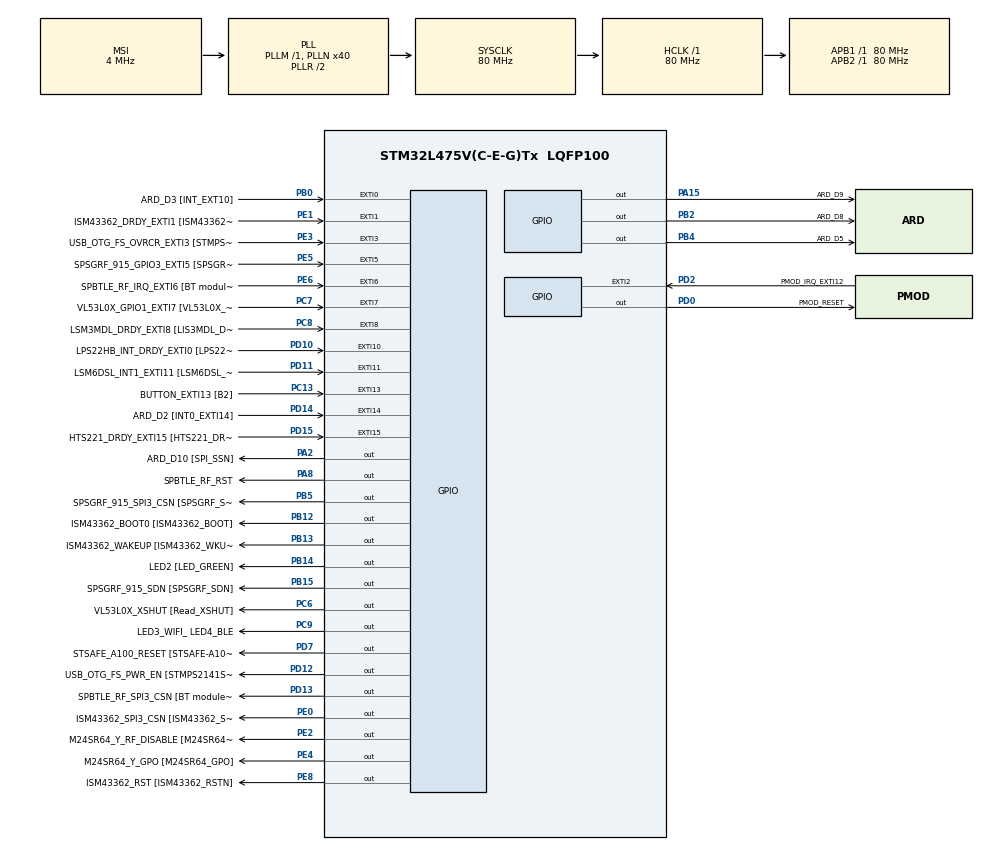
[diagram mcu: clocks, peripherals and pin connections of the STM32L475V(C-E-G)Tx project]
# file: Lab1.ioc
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FREERTOS.BinarySemaphores01=myBinarySem02,Dynamic,NULL,Available
FREERTOS.Mutexes01=MutexLED2,Dynamic,NULL,Available
FREERTOS.Queues01=pressQueue,16,uint8_t,0,Dynamic,NULL,NULL
FREERTOS.Tasks01=defaultTask,24,128,StartDefaultTask,Default,NULL,Dynamic,NULL,NULL;myTask02,47,128,StartTask02,Default,NULL,Dynamic,NULL,NULL
Mcu.Family=STM32L4
Mcu.Name=STM32L475V(C-E-G)Tx
Mcu.Package=LQFP100
NVIC.EXTI15_10_IRQn=true\:5\:0\:false\:false\:true\:true\:true\:true\:true
NVIC.EXTI9_5_IRQn=true\:5\:0\:false\:false\:true\:true\:true\:true\:true
NVIC.PriorityGroup=NVIC_PRIORITYGROUP_4
NVIC.TIM7_IRQn=true\:5\:0\:false\:false\:true\:true\:true\:true\:true
PA0.GPIO_Label=ARD_D1 [UART4_TX]
PA0.Signal=UART4_TX
PA1.GPIO_Label=ARD_D0 [UART4_RX]
PA1.Signal=UART4_RX
PA10.GPIO_Label=USB_OTG_FS_ID
PA10.Signal=USB_OTG_FS_ID
PA11.GPIO_Label=USB_OTG_FS_DM
PA11.Signal=USB_OTG_FS_DM
PA12.GPIO_Label=USB_OTG_FS_DP
PA12.Signal=USB_OTG_FS_DP
PA13\ (JTMS-SWDIO).GPIO_Label=SYS_JTMS_SWDIO
PA13\ (JTMS-SWDIO).Signal=SYS_JTMS-SWDIO
PA14\ (JTCK-SWCLK).GPIO_Label=SYS_JTCK_SWCLK
PA14\ (JTCK-SWCLK).Signal=SYS_JTCK-SWCLK
PA15\ (JTDI).GPIO_Label=ARD_D9
PA15\ (JTDI).Signal=GPIO_Output
PA2.GPIO_Label=ARD_D10 [SPI_SSN]
PA2.Signal=GPIO_Output
PA3.GPIO_Label=ARD_D4
PA3.Signal=S_TIM2_CH4
PA4.GPIO_Label=ARD_D7
PA4.Signal=ADCx_IN9
PA5.GPIO_Label=ARD_D13 [SPI1_SCK]
PA5.Signal=SPI1_SCK
PA6.GPIO_Label=ARD_D12 [SPI1_MISO]
PA6.Signal=SPI1_MISO
PA7.GPIO_Label=ARD_D11 [SPI1_MOSI]
PA7.Signal=SPI1_MOSI
PA8.GPIO_Label=SPBTLE_RF_RST
PA8.Signal=GPIO_Output
PA9.GPIO_Label=USB_OTG_FS_VBUS [STMPS2141STR_OUT]
PA9.Signal=USB_OTG_FS_VBUS
PB0.GPIO_Label=ARD_D3 [INT_EXT10]
PB0.Signal=GPXTI0
PB1.GPIO_Label=ARD_D6 [ADC1_IN6]
PB1.Signal=ADCx_IN16
PB10.GPIO_Label=INTERNAL_I2C2_SCL [VL53L0X_SCL]
PB10.Signal=I2C2_SCL
PB11.GPIO_Label=INTERNAL_I2C2_SDA [VL53L0X_SDA]
PB11.Signal=I2C2_SDA
PB12.GPIO_Label=ISM43362_BOOT0 [ISM43362_BOOT]
PB12.Signal=GPIO_Output
PB13.GPIO_Label=ISM43362_WAKEUP [ISM43362_WKUP]
PB13.Signal=GPIO_Output
PB14.GPIO_Label=LED2 [LED_GREEN]
PB14.Signal=GPIO_Output
PB15.GPIO_Label=SPSGRF_915_SDN [SPSGRF_SDN]
PB15.Signal=GPIO_Output
PB2.GPIO_Label=ARD_D8
PB2.Signal=GPIO_Output
PB3\ (JTDO-TRACESWO).GPIO_Label=SYS_JTD0_SWO
PB3\ (JTDO-TRACESWO).Signal=SYS_JTDO-SWO
PB4\ (NJTRST).GPIO_Label=ARD_D5
PB4\ (NJTRST).Signal=GPIO_Output
PB5.GPIO_Label=SPSGRF_915_SPI3_CSN [SPSGRF_SPI_CS]
PB5.PinState=GPIO_PIN_SET
PB5.Signal=GPIO_Output
PB6.GPIO_Label=ST_LINK_UART1_TX
PB6.Signal=USART1_TX
PB7.GPIO_Label=ST_LINK_UART1_RX
PB7.Signal=USART1_RX
PB8.GPIO_Label=ARD_D15 [I2C1_SCL]
PB8.Signal=I2C1_SCL
PB9.GPIO_Label=ARD_D14 [I2C1_SDA]
PB9.Signal=I2C1_SDA
PC0.GPIO_Label=ARD_A5 [ADC]
PC0.Signal=ADCx_IN1
PC1.GPIO_Label=ARD_A4 [ADC]
PC1.Signal=ADCx_IN2
PC10.GPIO_Label=INTERNAL_SPI3_SCK [BT module_SPI_SCLK] [ISM43362_SCK]
PC10.Signal=SPI3_SCK
PC11.GPIO_Label=INTERNAL_SPI3_MISO [BT module_SPI_MISO] [ISM43362_MISO]
PC11.Signal=SPI3_MISO
PC12.GPIO_Label=INTERNAL_SPI3_MOSI [BT module_SPI_MOSI] [ISM43362_MOSI]
PC12.Signal=SPI3_MOSI
PC13.GPIO_Label=BUTTON_EXTI13 [B2]
PC13.GPIO_ModeDefaultEXTI=GPIO_MODE_IT_RISING_FALLING
PC13.Signal=GPXTI13
PC14-OSC32_IN\ (PC14).Signal=RCC_OSC32_IN
PC15-OSC32_OUT\ (PC15).Signal=RCC_OSC32_OUT
PC2.GPIO_Label=ARD_A3 [ADC]
PC2.Signal=ADCx_IN3
PC3.GPIO_Label=ARD_A2 [ADC]
PC3.Signal=ADCx_IN4
PC4.GPIO_Label=ARD_A1 [ADC]
PC4.Signal=ADCx_IN13
PC5.GPIO_Label=ARD_A0 [ADC]
PC5.Signal=ADCx_IN14
PC6.GPIO_Label=VL53L0X_XSHUT [Read_XSHUT]
PC6.Signal=GPIO_Output
PC7.GPIO_Label=VL53L0X_GPIO1_EXTI7 [VL53L0X_GPIO1]
PC7.Signal=GPXTI7
PC8.GPIO_Label=LSM3MDL_DRDY_EXTI8 [LIS3MDL_DRDY]
PC8.Signal=GPXTI8
PC9.GPIO_Label=LED3_WIFI_ LED4_BLE
PC9.Signal=GPIO_Output
PD0.GPIO_Label=PMOD_RESET
PD0.Signal=GPIO_Output
PD1.GPIO_Label=PMOD_SPI2_SCK
PD1.Signal=SPI2_SCK
PD10.GPIO_Label=LPS22HB_INT_DRDY_EXTI0 [LPS22HB_INT_DRDY] 
PD10.Signal=GPXTI10
PD11.GPIO_Label=LSM6DSL_INT1_EXTI11 [LSM6DSL_INT1]
PD11.Signal=GPXTI11
PD12.GPIO_Label=USB_OTG_FS_PWR_EN [STMPS2141STR_EN]
PD12.Signal=GPIO_Output
PD13.GPIO_Label=SPBTLE_RF_SPI3_CSN [BT module_SPI_CS]
PD13.PinState=GPIO_PIN_SET
PD13.Signal=GPIO_Output
PD14.GPIO_Label=ARD_D2 [INT0_EXTI14]
PD14.Signal=GPXTI14
PD15.GPIO_Label=HTS221_DRDY_EXTI15 [HTS221_DRDY]
PD15.Signal=GPXTI15
PD2.GPIO_Label=PMOD_IRQ_EXTI12
PD2.Signal=GPXTI2
PD3.GPIO_Label=PMOD_UART2_CTS
PD3.Signal=USART2_CTS
PD4.GPIO_Label=PMOD_UART2_RTS
PD4.Signal=USART2_RTS
PD5.GPIO_Label=PMOD_UART2_TX
PD5.Signal=USART2_TX
PD6.GPIO_Label=PMOD_UART2_RX
PD6.Signal=USART2_RX
PD7.GPIO_Label=STSAFE_A100_RESET [STSAFE-A100_RESET]
PD7.Signal=GPIO_Output
PD8.GPIO_Label=INTERNAL_UART3_TX [ISM43362_RX]
PD8.Signal=USART3_TX
PD9.GPIO_Label=INTERNAL_UART3_RX [ISM43362_TX]
PD9.Signal=USART3_RX
PE0.GPIO_Label=ISM43362_SPI3_CSN [ISM43362_SSN]
PE0.PinState=GPIO_PIN_SET
PE0.Signal=GPIO_Output
PE1.GPIO_Label=ISM43362_DRDY_EXTI1 [ISM43362_DATARDY]
PE1.Signal=GPXTI1
PE10.GPIO_Label=QUADSPI_CLK [MX25R6435F_SCLK]
PE10.Signal=QUADSPI_CLK
PE11.GPIO_Label=QUADSPI_NCS [MX25R6435F_SCLK]
PE11.Signal=QUADSPI_NCS
PE12.GPIO_Label=OQUADSPI_BK1_IO0 [MX25R6435F_IO0]
PE12.Signal=QUADSPI_BK1_IO0
PE13.GPIO_Label=QUADSPI_BK1_IO1 [MX25R6435F_IO1]
PE13.Signal=QUADSPI_BK1_IO1
PE14.GPIO_Label=QUAD_SPI_BK1_IO2 [MX25R6435F_IO2]
PE14.Signal=QUADSPI_BK1_IO2
PE15.GPIO_Label=QUAD_SPI_BK1_IO3 [MX25R6435F_IO3]
PE15.Signal=QUADSPI_BK1_IO3
PE2.GPIO_Label=M24SR64_Y_RF_DISABLE [M24SR64_RFDIS]
PE2.Signal=GPIO_Output
PE3.GPIO_Label=USB_OTG_FS_OVRCR_EXTI3 [STMPS2141STR_FAULT]
PE3.Signal=GPXTI3
PE4.GPIO_Label=M24SR64_Y_GPO [M24SR64_GPO]
PE4.Signal=GPIO_Output
PE5.GPIO_Label=SPSGRF_915_GPIO3_EXTI5 [SPSGRF_GPIO_3]
PE5.Signal=GPXTI5
PE6.GPIO_Label=SPBTLE_RF_IRQ_EXTI6 [BT module_SPI_IRQ]
PE6.Signal=GPXTI6
PE7.GPIO_Label=DFSDM1_DATIN2 [MP34DT01_DOUT]
PE7.Signal=S_DATAIN2DFSDM1
PE8.GPIO_Label=ISM43362_RST [ISM43362_RSTN]
PE8.Signal=GPIO_Output
PE9.GPIO_Label=DFSDM1_CKOUT [MP34DT01_CLK]
PE9.Signal=S_CKOUTDFSDM1
ProjectManager.HeapSize=0x200
ProjectManager.StackSize=0x400
ProjectManager.TargetToolchain=STM32CubeIDE
RCC.ADCFreq_Value=48000000
RCC.AHBFreq_Value=80000000
RCC.APB1Freq_Value=80000000
RCC.APB1TimFreq_Value=80000000
RCC.APB2Freq_Value=80000000
RCC.APB2TimFreq_Value=80000000
RCC.CortexFreq_Value=80000000
RCC.HCLKFreq_Value=80000000
RCC.HSE_VALUE=8000000
RCC.HSI_VALUE=16000000
RCC.LSE_VALUE=32768
RCC.MSI_VALUE=4000000
RCC.PLLN=40
RCC.PLLSAI1N=24
RCC.SYSCLKFreq_VALUE=80000000
RCC.SYSCLKSource=RCC_SYSCLKSOURCE_PLLCLK
RCC.USBFreq_Value=48000000
RCC.VCOOutputFreq_Value=160000000
SH.ADCx_IN1.0=ADC1_IN1
SH.ADCx_IN13.0=ADC1_IN13
SH.ADCx_IN14.0=ADC1_IN14
SH.ADCx_IN16.0=ADC1_IN16
SH.ADCx_IN2.0=ADC1_IN2
SH.ADCx_IN3.0=ADC1_IN3
SH.ADCx_IN4.0=ADC1_IN4
SH.ADCx_IN9.0=ADC1_IN9
SH.S_CKOUTDFSDM1.0=DFSDM1_CKOUT
SH.S_DATAIN2DFSDM1.0=DFSDM1_DATIN2
SH.S_TIM2_CH4.0=TIM2_CH4
TIM7.Period=12499
TIM7.Prescaler=63999
VP_FREERTOS_VS_CMSIS_V2.Mode=CMSIS_V2
VP_TIM7_VS_ClockSourceINT.Mode=Enable_Timer
board=B-L475E-IOT01A2

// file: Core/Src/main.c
/* USER CODE BEGIN Header */
/**
  ******************************************************************************
  * @file           : main.c
  * @brief          : Main program body
  ******************************************************************************
  * @attention
  *
  * Copyright (c) 2026 STMicroelectronics.
  * All rights reserved.
  *
  * This software is licensed under terms that can be found in the LICENSE file
  * in the root directory of this software component.
  * If no LICENSE file comes with this software, it is provided AS-IS.
  *
  ******************************************************************************
  */
/* USER CODE END Header */
#include "main.h"
#include "cmsis_os.h"

TIM_HandleTypeDef htim7;

/* Definitions for defaultTask */
osThreadId_t defaultTaskHandle;
const osThreadAttr_t defaultTask_attributes = {
  .name = "defaultTask",
  .stack_size = 128 * 4,
  .priority = (osPriority_t) osPriorityNormal,
};
/* Definitions for myTask02 */
osThreadId_t myTask02Handle;
const osThreadAttr_t myTask02_attributes = {
  .name = "myTask02",
  .stack_size = 128 * 4,
  .priority = (osPriority_t) osPriorityHigh7,
};
/* Definitions for pressQueue */
osMessageQueueId_t pressQueueHandle;
const osMessageQueueAttr_t pressQueue_attributes = {
  .name = "pressQueue"
};
/* Definitions for MutexLED2 */
osMutexId_t MutexLED2Handle;
const osMutexAttr_t MutexLED2_attributes = {
  .name = "MutexLED2"
};
/* Definitions for myBinarySem02 */
osSemaphoreId_t myBinarySem02Handle;
const osSemaphoreAttr_t myBinarySem02_attributes = {
  .name = "myBinarySem02"
};

void SystemClock_Config(void);
static void MX_GPIO_Init(void);
static void MX_TIM7_Init(void);
void StartDefaultTask(void *argument);
void StartTask02(void *argument);

int main(void)
{

  /* MCU Configuration--------------------------------------------------------*/

  /* Reset of all peripherals, Initializes the Flash interface and the Systick. */
  HAL_Init();

  /* Configure the system clock */
  SystemClock_Config();

  /* Initialize all configured peripherals */
  MX_GPIO_Init();
  MX_TIM7_Init();
  /* USER CODE BEGIN 2 */
  HAL_TIM_Base_Start_IT(&htim7); // 以中斷模式啟動 TIM7
  /* USER CODE END 2 */

  /* Init scheduler */
  osKernelInitialize();
  /* Create the mutex(es) */
  /* creation of MutexLED2 */
  MutexLED2Handle = osMutexNew(&MutexLED2_attributes);

  /* Create the semaphores(s) */
  /* creation of myBinarySem02 */
  myBinarySem02Handle = osSemaphoreNew(1, 1, &myBinarySem02_attributes);

  /* Create the queue(s) */
  /* creation of pressQueue */
  pressQueueHandle = osMessageQueueNew (16, sizeof(uint8_t), &pressQueue_attributes);

  /* Create the thread(s) */
  /* creation of defaultTask */
  defaultTaskHandle = osThreadNew(StartDefaultTask, NULL, &defaultTask_attributes);

  /* creation of myTask02 */
  myTask02Handle = osThreadNew(StartTask02, NULL, &myTask02_attributes);

  /* Start scheduler */
  osKernelStart();

  /* We should never get here as control is now taken by the scheduler */

  /* Infinite loop */
  while (1)
  {

  }
}

void SystemClock_Config(void)
{
  RCC_OscInitTypeDef RCC_OscInitStruct = {0};
  RCC_ClkInitTypeDef RCC_ClkInitStruct = {0};

  /** Configure the main internal regulator output voltage
  */
  if (HAL_PWREx_ControlVoltageScaling(PWR_REGULATOR_VOLTAGE_SCALE1) != HAL_OK)
  {
    Error_Handler();
  }

  /** Initializes the RCC Oscillators according to the specified parameters
  * in the RCC_OscInitTypeDef structure.
  */
  RCC_OscInitStruct.OscillatorType = RCC_OSCILLATORTYPE_MSI;
  RCC_OscInitStruct.MSIState = RCC_MSI_ON;
  RCC_OscInitStruct.MSICalibrationValue = 0;
  RCC_OscInitStruct.MSIClockRange = RCC_MSIRANGE_6;
  RCC_OscInitStruct.PLL.PLLState = RCC_PLL_ON;
  RCC_OscInitStruct.PLL.PLLSource = RCC_PLLSOURCE_MSI;
  RCC_OscInitStruct.PLL.PLLM = 1;
  RCC_OscInitStruct.PLL.PLLN = 40;
  RCC_OscInitStruct.PLL.PLLP = RCC_PLLP_DIV7;
  RCC_OscInitStruct.PLL.PLLQ = RCC_PLLQ_DIV2;
  RCC_OscInitStruct.PLL.PLLR = RCC_PLLR_DIV2;
  if (HAL_RCC_OscConfig(&RCC_OscInitStruct) != HAL_OK)
  {
    Error_Handler();
  }

  /** Initializes the CPU, AHB and APB buses clocks
  */
  RCC_ClkInitStruct.ClockType = RCC_CLOCKTYPE_HCLK|RCC_CLOCKTYPE_SYSCLK
                              |RCC_CLOCKTYPE_PCLK1|RCC_CLOCKTYPE_PCLK2;
  RCC_ClkInitStruct.SYSCLKSource = RCC_SYSCLKSOURCE_PLLCLK;
  RCC_ClkInitStruct.AHBCLKDivider = RCC_SYSCLK_DIV1;
  RCC_ClkInitStruct.APB1CLKDivider = RCC_HCLK_DIV1;
  RCC_ClkInitStruct.APB2CLKDivider = RCC_HCLK_DIV1;

  if (HAL_RCC_ClockConfig(&RCC_ClkInitStruct, FLASH_LATENCY_4) != HAL_OK)
  {
    Error_Handler();
  }
}

static void MX_TIM7_Init(void)
{

  TIM_MasterConfigTypeDef sMasterConfig = {0};

  htim7.Instance = TIM7;
  htim7.Init.Prescaler = 63999;
  htim7.Init.CounterMode = TIM_COUNTERMODE_UP;
  htim7.Init.Period = 12499;
  htim7.Init.AutoReloadPreload = TIM_AUTORELOAD_PRELOAD_DISABLE;
  if (HAL_TIM_Base_Init(&htim7) != HAL_OK)
  {
    Error_Handler();
  }
  sMasterConfig.MasterOutputTrigger = TIM_TRGO_RESET;
  sMasterConfig.MasterSlaveMode = TIM_MASTERSLAVEMODE_DISABLE;
  if (HAL_TIMEx_MasterConfigSynchronization(&htim7, &sMasterConfig) != HAL_OK)
  {
    Error_Handler();
  }

}

static void MX_GPIO_Init(void)
{
  GPIO_InitTypeDef GPIO_InitStruct = {0};

  /* GPIO Ports Clock Enable */
  __HAL_RCC_GPIOE_CLK_ENABLE();
  __HAL_RCC_GPIOC_CLK_ENABLE();
  __HAL_RCC_GPIOA_CLK_ENABLE();
  __HAL_RCC_GPIOB_CLK_ENABLE();
  __HAL_RCC_GPIOD_CLK_ENABLE();

  /*Configure GPIO pin Output Level */
  HAL_GPIO_WritePin(GPIOE, M24SR64_Y_RF_DISABLE_Pin|M24SR64_Y_GPO_Pin|ISM43362_RST_Pin, GPIO_PIN_RESET);

  /*Configure GPIO pin Output Level */
  HAL_GPIO_WritePin(GPIOA, ARD_D10_Pin|SPBTLE_RF_RST_Pin|ARD_D9_Pin, GPIO_PIN_RESET);

  /*Configure GPIO pin Output Level */
  HAL_GPIO_WritePin(GPIOB, ARD_D8_Pin|ISM43362_BOOT0_Pin|ISM43362_WAKEUP_Pin|LED2_Pin
                          |SPSGRF_915_SDN_Pin|ARD_D5_Pin, GPIO_PIN_RESET);

  /*Configure GPIO pin Output Level */
  HAL_GPIO_WritePin(GPIOD, USB_OTG_FS_PWR_EN_Pin|PMOD_RESET_Pin|STSAFE_A100_RESET_Pin, GPIO_PIN_RESET);

  /*Configure GPIO pin Output Level */
  HAL_GPIO_WritePin(SPBTLE_RF_SPI3_CSN_GPIO_Port, SPBTLE_RF_SPI3_CSN_Pin, GPIO_PIN_SET);

  /*Configure GPIO pin Output Level */
  HAL_GPIO_WritePin(GPIOC, VL53L0X_XSHUT_Pin|LED3_WIFI__LED4_BLE_Pin, GPIO_PIN_RESET);

  /*Configure GPIO pin Output Level */
  HAL_GPIO_WritePin(SPSGRF_915_SPI3_CSN_GPIO_Port, SPSGRF_915_SPI3_CSN_Pin, GPIO_PIN_SET);

  /*Configure GPIO pin Output Level */
  HAL_GPIO_WritePin(ISM43362_SPI3_CSN_GPIO_Port, ISM43362_SPI3_CSN_Pin, GPIO_PIN_SET);

  /*Configure GPIO pins : M24SR64_Y_RF_DISABLE_Pin M24SR64_Y_GPO_Pin ISM43362_RST_Pin ISM43362_SPI3_CSN_Pin */
  GPIO_InitStruct.Pin = M24SR64_Y_RF_DISABLE_Pin|M24SR64_Y_GPO_Pin|ISM43362_RST_Pin|ISM43362_SPI3_CSN_Pin;
  GPIO_InitStruct.Mode = GPIO_MODE_OUTPUT_PP;
  GPIO_InitStruct.Pull = GPIO_NOPULL;
  GPIO_InitStruct.Speed = GPIO_SPEED_FREQ_LOW;
  HAL_GPIO_Init(GPIOE, &GPIO_InitStruct);

  /*Configure GPIO pins : USB_OTG_FS_OVRCR_EXTI3_Pin SPSGRF_915_GPIO3_EXTI5_Pin SPBTLE_RF_IRQ_EXTI6_Pin ISM43362_DRDY_EXTI1_Pin */
  GPIO_InitStruct.Pin = USB_OTG_FS_OVRCR_EXTI3_Pin|SPSGRF_915_GPIO3_EXTI5_Pin|SPBTLE_RF_IRQ_EXTI6_Pin|ISM43362_DRDY_EXTI1_Pin;
  GPIO_InitStruct.Mode = GPIO_MODE_IT_RISING;
  GPIO_InitStruct.Pull = GPIO_NOPULL;
  HAL_GPIO_Init(GPIOE, &GPIO_InitStruct);

  /*Configure GPIO pin : BUTTON_EXTI13_Pin */
  GPIO_InitStruct.Pin = BUTTON_EXTI13_Pin;
  GPIO_InitStruct.Mode = GPIO_MODE_IT_RISING_FALLING;
  GPIO_InitStruct.Pull = GPIO_NOPULL;
  HAL_GPIO_Init(BUTTON_EXTI13_GPIO_Port, &GPIO_InitStruct);

  /*Configure GPIO pins : ARD_A5_Pin ARD_A4_Pin ARD_A3_Pin ARD_A2_Pin
                           ARD_A1_Pin ARD_A0_Pin */
  GPIO_InitStruct.Pin = ARD_A5_Pin|ARD_A4_Pin|ARD_A3_Pin|ARD_A2_Pin
                          |ARD_A1_Pin|ARD_A0_Pin;
  GPIO_InitStruct.Mode = GPIO_MODE_ANALOG_ADC_CONTROL;
  GPIO_InitStruct.Pull = GPIO_NOPULL;
  HAL_GPIO_Init(GPIOC, &GPIO_InitStruct);

  /*Configure GPIO pins : ARD_D1_Pin ARD_D0_Pin */
  GPIO_InitStruct.Pin = ARD_D1_Pin|ARD_D0_Pin;
  GPIO_InitStruct.Mode = GPIO_MODE_AF_PP;
  GPIO_InitStruct.Pull = GPIO_NOPULL;
  GPIO_InitStruct.Speed = GPIO_SPEED_FREQ_VERY_HIGH;
  GPIO_InitStruct.Alternate = GPIO_AF8_UART4;
  HAL_GPIO_Init(GPIOA, &GPIO_InitStruct);

  /*Configure GPIO pins : ARD_D10_Pin SPBTLE_RF_RST_Pin ARD_D9_Pin */
  GPIO_InitStruct.Pin = ARD_D10_Pin|SPBTLE_RF_RST_Pin|ARD_D9_Pin;
  GPIO_InitStruct.Mode = GPIO_MODE_OUTPUT_PP;
  GPIO_InitStruct.Pull = GPIO_NOPULL;
  GPIO_InitStruct.Speed = GPIO_SPEED_FREQ_LOW;
  HAL_GPIO_Init(GPIOA, &GPIO_InitStruct);

  /*Configure GPIO pin : ARD_D4_Pin */
  GPIO_InitStruct.Pin = ARD_D4_Pin;
  GPIO_InitStruct.Mode = GPIO_MODE_AF_PP;
  GPIO_InitStruct.Pull = GPIO_NOPULL;
  GPIO_InitStruct.Speed = GPIO_SPEED_FREQ_LOW;
  GPIO_InitStruct.Alternate = GPIO_AF1_TIM2;
  HAL_GPIO_Init(ARD_D4_GPIO_Port, &GPIO_InitStruct);

  /*Configure GPIO pin : ARD_D7_Pin */
  GPIO_InitStruct.Pin = ARD_D7_Pin;
  GPIO_InitStruct.Mode = GPIO_MODE_ANALOG_ADC_CONTROL;
  GPIO_InitStruct.Pull = GPIO_NOPULL;
  HAL_GPIO_Init(ARD_D7_GPIO_Port, &GPIO_InitStruct);

  /*Configure GPIO pins : ARD_D13_Pin ARD_D12_Pin ARD_D11_Pin */
  GPIO_InitStruct.Pin = ARD_D13_Pin|ARD_D12_Pin|ARD_D11_Pin;
  GPIO_InitStruct.Mode = GPIO_MODE_AF_PP;
  GPIO_InitStruct.Pull = GPIO_NOPULL;
  GPIO_InitStruct.Speed = GPIO_SPEED_FREQ_VERY_HIGH;
  GPIO_InitStruct.Alternate = GPIO_AF5_SPI1;
  HAL_GPIO_Init(GPIOA, &GPIO_InitStruct);

  /*Configure GPIO pin : ARD_D3_Pin */
  GPIO_InitStruct.Pin = ARD_D3_Pin;
  GPIO_InitStruct.Mode = GPIO_MODE_IT_RISING;
  GPIO_InitStruct.Pull = GPIO_NOPULL;
  HAL_GPIO_Init(ARD_D3_GPIO_Port, &GPIO_InitStruct);

  /*Configure GPIO pin : ARD_D6_Pin */
  GPIO_InitStruct.Pin = ARD_D6_Pin;
  GPIO_InitStruct.Mode = GPIO_MODE_ANALOG_ADC_CONTROL;
  GPIO_InitStruct.Pull = GPIO_NOPULL;
  HAL_GPIO_Init(ARD_D6_GPIO_Port, &GPIO_InitStruct);

  /*Configure GPIO pins : ARD_D8_Pin ISM43362_BOOT0_Pin ISM43362_WAKEUP_Pin LED2_Pin
                           SPSGRF_915_SDN_Pin ARD_D5_Pin SPSGRF_915_SPI3_CSN_Pin */
  GPIO_InitStruct.Pin = ARD_D8_Pin|ISM43362_BOOT0_Pin|ISM43362_WAKEUP_Pin|LED2_Pin
                          |SPSGRF_915_SDN_Pin|ARD_D5_Pin|SPSGRF_915_SPI3_CSN_Pin;
  GPIO_InitStruct.Mode = GPIO_MODE_OUTPUT_PP;
  GPIO_InitStruct.Pull = GPIO_NOPULL;
  GPIO_InitStruct.Speed = GPIO_SPEED_FREQ_LOW;
  HAL_GPIO_Init(GPIOB, &GPIO_InitStruct);

  /*Configure GPIO pins : DFSDM1_DATIN2_Pin DFSDM1_CKOUT_Pin */
  GPIO_InitStruct.Pin = DFSDM1_DATIN2_Pin|DFSDM1_CKOUT_Pin;
  GPIO_InitStruct.Mode = GPIO_MODE_AF_PP;
  GPIO_InitStruct.Pull = GPIO_NOPULL;
  GPIO_InitStruct.Speed = GPIO_SPEED_FREQ_LOW;
  GPIO_InitStruct.Alternate = GPIO_AF6_DFSDM1;
  HAL_GPIO_Init(GPIOE, &GPIO_InitStruct);

  /*Configure GPIO pins : QUADSPI_CLK_Pin QUADSPI_NCS_Pin OQUADSPI_BK1_IO0_Pin QUADSPI_BK1_IO1_Pin
                           QUAD_SPI_BK1_IO2_Pin QUAD_SPI_BK1_IO3_Pin */
  GPIO_InitStruct.Pin = QUADSPI_CLK_Pin|QUADSPI_NCS_Pin|OQUADSPI_BK1_IO0_Pin|QUADSPI_BK1_IO1_Pin
                          |QUAD_SPI_BK1_IO2_Pin|QUAD_SPI_BK1_IO3_Pin;
  GPIO_InitStruct.Mode = GPIO_MODE_AF_PP;
  GPIO_InitStruct.Pull = GPIO_NOPULL;
  GPIO_InitStruct.Speed = GPIO_SPEED_FREQ_VERY_HIGH;
  GPIO_InitStruct.Alternate = GPIO_AF10_QUADSPI;
  HAL_GPIO_Init(GPIOE, &GPIO_InitStruct);

  /*Configure GPIO pins : INTERNAL_I2C2_SCL_Pin INTERNAL_I2C2_SDA_Pin */
  GPIO_InitStruct.Pin = INTERNAL_I2C2_SCL_Pin|INTERNAL_I2C2_SDA_Pin;
  GPIO_InitStruct.Mode = GPIO_MODE_AF_OD;
  GPIO_InitStruct.Pull = GPIO_NOPULL;
  GPIO_InitStruct.Speed = GPIO_SPEED_FREQ_VERY_HIGH;
  GPIO_InitStruct.Alternate = GPIO_AF4_I2C2;
  HAL_GPIO_Init(GPIOB, &GPIO_InitStruct);

  /*Configure GPIO pins : INTERNAL_UART3_TX_Pin INTERNAL_UART3_RX_Pin */
  GPIO_InitStruct.Pin = INTERNAL_UART3_TX_Pin|INTERNAL_UART3_RX_Pin;
  GPIO_InitStruct.Mode = GPIO_MODE_AF_PP;
  GPIO_InitStruct.Pull = GPIO_NOPULL;
  GPIO_InitStruct.Speed = GPIO_SPEED_FREQ_VERY_HIGH;
  GPIO_InitStruct.Alternate = GPIO_AF7_USART3;
  HAL_GPIO_Init(GPIOD, &GPIO_InitStruct);

  /*Configure GPIO pins : LPS22HB_INT_DRDY_EXTI0_Pin LSM6DSL_INT1_EXTI11_Pin ARD_D2_Pin HTS221_DRDY_EXTI15_Pin
                           PMOD_IRQ_EXTI12_Pin */
  GPIO_InitStruct.Pin = LPS22HB_INT_DRDY_EXTI0_Pin|LSM6DSL_INT1_EXTI11_Pin|ARD_D2_Pin|HTS221_DRDY_EXTI15_Pin
                          |PMOD_IRQ_EXTI12_Pin;
  GPIO_InitStruct.Mode = GPIO_MODE_IT_RISING;
  GPIO_InitStruct.Pull = GPIO_NOPULL;
  HAL_GPIO_Init(GPIOD, &GPIO_InitStruct);

  /*Configure GPIO pins : USB_OTG_FS_PWR_EN_Pin SPBTLE_RF_SPI3_CSN_Pin PMOD_RESET_Pin STSAFE_A100_RESET_Pin */
  GPIO_InitStruct.Pin = USB_OTG_FS_PWR_EN_Pin|SPBTLE_RF_SPI3_CSN_Pin|PMOD_RESET_Pin|STSAFE_A100_RESET_Pin;
  GPIO_InitStruct.Mode = GPIO_MODE_OUTPUT_PP;
  GPIO_InitStruct.Pull = GPIO_NOPULL;
  GPIO_InitStruct.Speed = GPIO_SPEED_FREQ_LOW;
  HAL_GPIO_Init(GPIOD, &GPIO_InitStruct);

  /*Configure GPIO pins : VL53L0X_XSHUT_Pin LED3_WIFI__LED4_BLE_Pin */
  GPIO_InitStruct.Pin = VL53L0X_XSHUT_Pin|LED3_WIFI__LED4_BLE_Pin;
  GPIO_InitStruct.Mode = GPIO_MODE_OUTPUT_PP;
  GPIO_InitStruct.Pull = GPIO_NOPULL;
  GPIO_InitStruct.Speed = GPIO_SPEED_FREQ_LOW;
  HAL_GPIO_Init(GPIOC, &GPIO_InitStruct);

  /*Configure GPIO pins : VL53L0X_GPIO1_EXTI7_Pin LSM3MDL_DRDY_EXTI8_Pin */
  GPIO_InitStruct.Pin = VL53L0X_GPIO1_EXTI7_Pin|LSM3MDL_DRDY_EXTI8_Pin;
  GPIO_InitStruct.Mode = GPIO_MODE_IT_RISING;
  GPIO_InitStruct.Pull = GPIO_NOPULL;
  HAL_GPIO_Init(GPIOC, &GPIO_InitStruct);

  /*Configure GPIO pin : USB_OTG_FS_VBUS_Pin */
  GPIO_InitStruct.Pin = USB_OTG_FS_VBUS_Pin;
  GPIO_InitStruct.Mode = GPIO_MODE_INPUT;
  GPIO_InitStruct.Pull = GPIO_NOPULL;
  HAL_GPIO_Init(USB_OTG_FS_VBUS_GPIO_Port, &GPIO_InitStruct);

  /*Configure GPIO pins : USB_OTG_FS_ID_Pin USB_OTG_FS_DM_Pin USB_OTG_FS_DP_Pin */
  GPIO_InitStruct.Pin = USB_OTG_FS_ID_Pin|USB_OTG_FS_DM_Pin|USB_OTG_FS_DP_Pin;
  GPIO_InitStruct.Mode = GPIO_MODE_AF_PP;
  GPIO_InitStruct.Pull = GPIO_NOPULL;
  GPIO_InitStruct.Speed = GPIO_SPEED_FREQ_VERY_HIGH;
  GPIO_InitStruct.Alternate = GPIO_AF10_OTG_FS;
  HAL_GPIO_Init(GPIOA, &GPIO_InitStruct);

  /*Configure GPIO pins : INTERNAL_SPI3_SCK_Pin INTERNAL_SPI3_MISO_Pin INTERNAL_SPI3_MOSI_Pin */
  GPIO_InitStruct.Pin = INTERNAL_SPI3_SCK_Pin|INTERNAL_SPI3_MISO_Pin|INTERNAL_SPI3_MOSI_Pin;
  GPIO_InitStruct.Mode = GPIO_MODE_AF_PP;
  GPIO_InitStruct.Pull = GPIO_NOPULL;
  GPIO_InitStruct.Speed = GPIO_SPEED_FREQ_VERY_HIGH;
  GPIO_InitStruct.Alternate = GPIO_AF6_SPI3;
  HAL_GPIO_Init(GPIOC, &GPIO_InitStruct);

  /*Configure GPIO pin : PMOD_SPI2_SCK_Pin */
  GPIO_InitStruct.Pin = PMOD_SPI2_SCK_Pin;
  GPIO_InitStruct.Mode = GPIO_MODE_AF_PP;
  GPIO_InitStruct.Pull = GPIO_NOPULL;
  GPIO_InitStruct.Speed = GPIO_SPEED_FREQ_VERY_HIGH;
  GPIO_InitStruct.Alternate = GPIO_AF5_SPI2;
  HAL_GPIO_Init(PMOD_SPI2_SCK_GPIO_Port, &GPIO_InitStruct);

  /*Configure GPIO pins : PMOD_UART2_CTS_Pin PMOD_UART2_RTS_Pin PMOD_UART2_TX_Pin PMOD_UART2_RX_Pin */
  GPIO_InitStruct.Pin = PMOD_UART2_CTS_Pin|PMOD_UART2_RTS_Pin|PMOD_UART2_TX_Pin|PMOD_UART2_RX_Pin;
  GPIO_InitStruct.Mode = GPIO_MODE_AF_PP;
  GPIO_InitStruct.Pull = GPIO_NOPULL;
  GPIO_InitStruct.Speed = GPIO_SPEED_FREQ_VERY_HIGH;
  GPIO_InitStruct.Alternate = GPIO_AF7_USART2;
  HAL_GPIO_Init(GPIOD, &GPIO_InitStruct);

  /*Configure GPIO pins : ST_LINK_UART1_TX_Pin ST_LINK_UART1_RX_Pin */
  GPIO_InitStruct.Pin = ST_LINK_UART1_TX_Pin|ST_LINK_UART1_RX_Pin;
  GPIO_InitStruct.Mode = GPIO_MODE_AF_PP;
  GPIO_InitStruct.Pull = GPIO_NOPULL;
  GPIO_InitStruct.Speed = GPIO_SPEED_FREQ_VERY_HIGH;
  GPIO_InitStruct.Alternate = GPIO_AF7_USART1;
  HAL_GPIO_Init(GPIOB, &GPIO_InitStruct);

  /*Configure GPIO pins : ARD_D15_Pin ARD_D14_Pin */
  GPIO_InitStruct.Pin = ARD_D15_Pin|ARD_D14_Pin;
  GPIO_InitStruct.Mode = GPIO_MODE_AF_OD;
  GPIO_InitStruct.Pull = GPIO_NOPULL;
  GPIO_InitStruct.Speed = GPIO_SPEED_FREQ_VERY_HIGH;
  GPIO_InitStruct.Alternate = GPIO_AF4_I2C1;
  HAL_GPIO_Init(GPIOB, &GPIO_InitStruct);

  /* EXTI interrupt init*/
  HAL_NVIC_SetPriority(EXTI9_5_IRQn, 5, 0);
  HAL_NVIC_EnableIRQ(EXTI9_5_IRQn);

  HAL_NVIC_SetPriority(EXTI15_10_IRQn, 5, 0);
  HAL_NVIC_EnableIRQ(EXTI15_10_IRQn);

}

/* USER CODE BEGIN 4 */
uint32_t press_time = 0; // 記錄按下的時間點
uint8_t msg_normal = 1;  // 代表普通按壓
uint8_t msg_long = 2;    // 代表長按壓

void HAL_GPIO_EXTI_Callback(uint16_t GPIO_Pin) {
    if (GPIO_Pin == BUTTON_EXTI13_Pin) {
        // 判斷是「按下」還是「放開」
        if (HAL_GPIO_ReadPin(GPIOC, BUTTON_EXTI13_Pin) == GPIO_PIN_RESET) {
            // 按下時 (Low)：記錄起始時間
            press_time = osKernelGetTickCount();
        } else {
            // 放開時 (High)：計算持續時間
            uint32_t duration = osKernelGetTickCount() - press_time;

            if (duration >= 1000) { // 超過 1 秒 (1000ms) 為長按
                osMessageQueuePut(pressQueueHandle, &msg_long, 0, 0);
            } else {
                osMessageQueuePut(pressQueueHandle, &msg_normal, 0, 0);
            }
        }
    }
}

void HAL_TIM_PeriodElapsedCallback(TIM_HandleTypeDef *htim)
{
  if (htim->Instance == TIM7) // 確認是 TIM7 觸發的
  {
    osSemaphoreRelease(myBinarySem02Handle); // 發送信號給 Task 2
  }
}
/* USER CODE END 4 */

void StartDefaultTask(void *argument)
{
  /* USER CODE BEGIN 5 */
	uint8_t received_msg;
	for(;;) {
	    // 從 Queue 獲取訊息，取代原本的 Semaphore
	    if (osMessageQueueGet(pressQueueHandle, &received_msg, NULL, osWaitForever) == osOK) {

	      osMutexAcquire(MutexLED2Handle, osWaitForever); // 取得鎖定

	      if (received_msg == 2) {
	        // 長按事件：10Hz 閃爍 5 秒
	        for (int i = 0; i < 50; i++) { // 10Hz, 5s = 50 次動作
	        	HAL_GPIO_WritePin(GPIOB, LED2_Pin, GPIO_PIN_SET);
	        	osDelay(50);
	        	HAL_GPIO_WritePin(GPIOB, LED2_Pin, GPIO_PIN_RESET);
	        	osDelay(50);
	        }
	        HAL_GPIO_WritePin(GPIOB, LED2_Pin, GPIO_PIN_RESET); // 確保閃爍完後關燈
	      } else {
	        // 普通按壓：1Hz 閃爍 5 秒
	        for (int i = 0; i < 5; i++) {
	            HAL_GPIO_WritePin(GPIOB, LED2_Pin, GPIO_PIN_SET);
	            osDelay(500);
	            HAL_GPIO_WritePin(GPIOB, LED2_Pin, GPIO_PIN_RESET);
	            osDelay(500);
	        }
	      }

	      osMutexRelease(MutexLED2Handle); // 釋放鎖定
	    }
	  }
  /* USER CODE END 5 */
}

void StartTask02(void *argument)
{
  /* USER CODE BEGIN StartTask02 */
	for(;;)
	{
		// 等待定時器發出的旗標，每 10 秒會被喚醒一次
		if (osSemaphoreAcquire(myBinarySem02Handle, osWaitForever) == osOK)
		{
		  osMutexAcquire(MutexLED2Handle, osWaitForever); // 取得 LED 控制權
		  for (int i = 0; i < 20; i++) {
			  HAL_GPIO_WritePin(GPIOB, LED2_Pin, GPIO_PIN_SET);
			  osDelay(50);
			  HAL_GPIO_WritePin(GPIOB, LED2_Pin, GPIO_PIN_RESET);
			  osDelay(50);
		  }
		  HAL_GPIO_WritePin(GPIOB, LED2_Pin, GPIO_PIN_RESET); // 確保閃爍完後關燈
		  osMutexRelease(MutexLED2Handle); // 釋放控制權
		}
	}
  /* USER CODE END StartTask02 */
}

void Error_Handler(void)
{
  __disable_irq();
  while (1)
  {
  }
}
